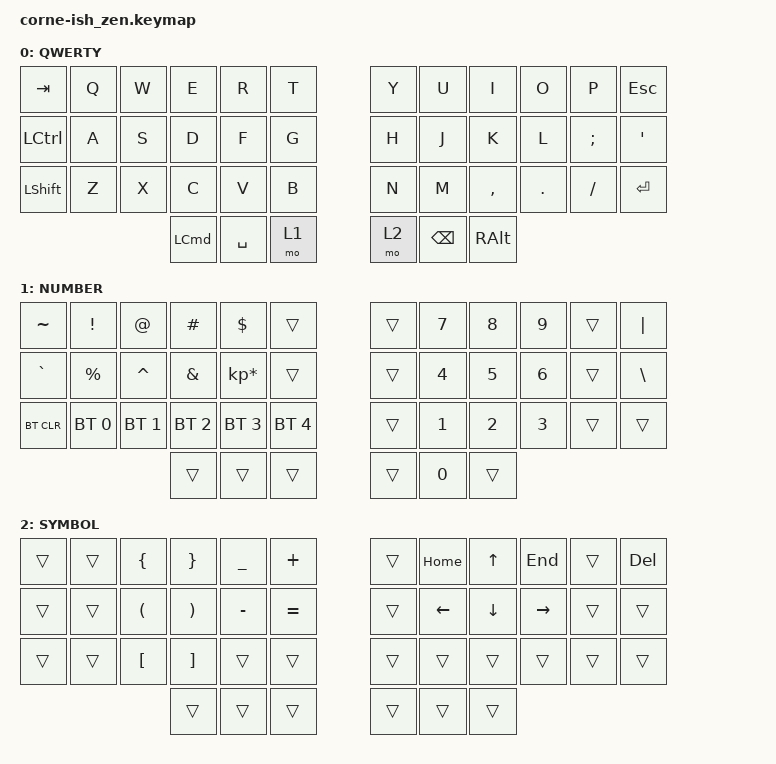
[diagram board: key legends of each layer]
/*
*
* Copyright (c) 2021 Darryl deHaan
* SPDX-License-Identifier: MIT
*
*/

#include <behaviors.dtsi>
#include <dt-bindings/zmk/keys.h>
#include <dt-bindings/zmk/bt.h>

/ {
        keymap {
                compatible = "zmk,keymap";

                default_layer {
                        label = "QWERTY";
// -----------------------------------------------------------------------------------------
// |  TAB |  Q  |  W  |  E  |  R  |  T  |   |  Y  |  U   |  I  |  O  |  P  | ESC |
// | CTRL |  A  |  S  |  D  |  F  |  G  |   |  H  |  J   |  K  |  L  |  ;  |  '  |
// | SHFT |  Z  |  X  |  C  |  V  |  B  |   |  N  |  M   |  ,  |  .  |  /  | ENT |
//                    | GUI | SPC | LWR |   | RSE | BKSP | ALT |
                        bindings = <
   &kp TAB   &kp Q &kp W &kp E    &kp R     &kp T   &kp Y &kp U    &kp I     &kp O   &kp P    &kp ESC
   &kp LCTRL &kp A &kp S &kp D    &kp F     &kp G   &kp H &kp J    &kp K     &kp L   &kp SEMI &kp SQT
   &kp LSHFT &kp Z &kp X &kp C    &kp V     &kp B   &kp N &kp M    &kp COMMA &kp DOT &kp FSLH &kp RET
                         &kp LCMD &kp SPACE &mo 1   &mo 2 &kp BSPC &kp RALT
                        >;
                };
                lower_layer {
                        label = "NUMBER";
// -----------------------------------------------------------------------------------------
// |   ~   |  !  |  @  |  #  |  $  |     |   |     |  7  |  8  |  9  |     | "|" |
// |   `   |  %  |  ^  |  &  |  *  |     |   |     |  4  |  5  |  6  |     |  \  |
// | BTCLR | BT1 | BT2 | BT3 | BT4 | BT5 |   |     |  1  |  2  |  3  |     |     |
//                     |     |     |     |   |     |  0  |     |
                        bindings = <
   &kp TILDE  &kp EXCL     &kp AT       &kp HASH     &kp DLLR        &trans        &trans &kp N7 &kp N8 &kp N9 &trans &kp PIPE
   &kp GRAVE  &kp PRCNT    &kp CARET    &kp AMPS     &kp KP_MULTIPLY &trans        &trans &kp N4 &kp N5 &kp N6 &trans &kp BSLH
   &bt BT_CLR &bt BT_SEL 0 &bt BT_SEL 1 &bt BT_SEL 2 &bt BT_SEL 3    &bt BT_SEL 4  &trans &kp N1 &kp N2 &kp N3 &trans &trans
                          	        &trans       &trans          &trans        &trans &kp N0 &trans
                        >;
                };

                raise_layer {
                        label = "SYMBOL";
// -----------------------------------------------------------------------------------------
// |      |     |  {  |  }  |  _  |  +  |   |     | HME |  UP | END |     | DEL |
// |      |     |  (  |  )  |  -  |  =  |   |     | LFT | DWN | RGT |     |     |
// |      |     |  [  |  ]  |     |     |   |     |     |     |     |     |     |
//                    |     |     |     |   |     |     |     |
                        bindings = <
   &trans &trans &kp LBRC &kp RBRC &kp UNDER &kp PLUS   &trans &kp HOME &kp UP   &kp END   &trans &kp DELETE
   &trans &trans &kp LPAR &kp RPAR &kp MINUS &kp EQUAL  &trans &kp LEFT &kp DOWN &kp RIGHT &trans &trans
   &trans &trans &kp LBKT &kp RBKT &trans    &trans     &trans &trans   &trans   &trans    &trans &trans
                    	  &trans   &trans    &trans     &trans &trans   &trans
                        >;
                };
        };
};
